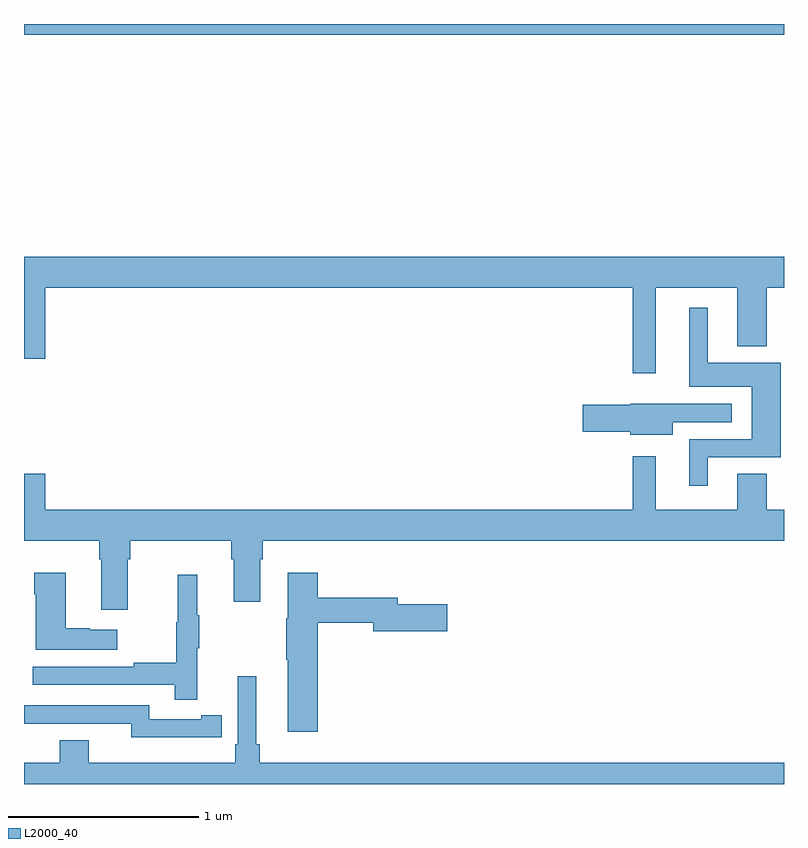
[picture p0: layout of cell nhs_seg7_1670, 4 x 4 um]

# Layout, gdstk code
import gdstk
lib = gdstk.Library(unit=1e-6, precision=1e-09)
def R(c, l, rs):  # rectangles x0, y0, x1, y1
    for r in rs: c.add(gdstk.rectangle(r[:2], r[2:], *l))
def P(c, l, *ps):  # polygons
    for p in ps: c.add(gdstk.Polygon(p, *l))
L2000_40 = (2000, 40)

nhs_seg7_1670 = lib.new_cell('nhs_seg7_1670')
R(nhs_seg7_1670, L2000_40, [(225,1005.944,229,1006)])
P(nhs_seg7_1670, L2000_40, [(228.325,1004.612),(228.755,1004.612),(228.755,1004.303),(228.908,1004.303),(228.908,1004.612),(229,1004.612),(229,1004.776),(225,1004.776),(225,1004.238),(225.112,1004.238),(225.112,1004.612),(228.204,1004.612),(228.204,1004.163),(228.325,1004.163)],
  [(228.598,1003.719),(228.984,1003.719),(228.984,1004.218),(228.598,1004.218),(228.598,1004.506),(228.5,1004.506),(228.5,1004.09),(228.83,1004.09),(228.83,1003.815),(228.5,1003.815),(228.5,1003.569),(228.598,1003.569)],
  [(228.415,1003.905),(228.724,1003.905),(228.724,1004.001),(228.411,1004.001),(228.411,1004.002),(228.192,1004.002),(228.192,1003.997),(227.94,1003.997),(227.94,1003.855),(228.192,1003.855),(228.192,1003.838),(228.415,1003.838)],
  [(225.547,1003.184),(225.56,1003.184),(225.56,1003.28),(226.091,1003.28),(226.091,1003.184),(226.103,1003.184),(226.103,1002.96),(226.243,1002.96),(226.243,1003.184),(226.256,1003.184),(226.256,1003.28),(229,1003.28),(229,1003.444),(228.908,1003.444),(228.908,1003.634),(228.755,1003.634),(228.755,1003.444),(228.325,1003.444),(228.325,1003.726),(228.204,1003.726),(228.204,1003.444),(225.112,1003.444),(225.112,1003.633),(225,1003.633),(225,1003.28),(225.395,1003.28),(225.395,1003.184),(225.407,1003.184),(225.407,1002.918),(225.547,1002.918)],
  [(225.49,1002.811),(225.347,1002.811),(225.347,1002.821),(225.22,1002.821),(225.22,1003.111),(225.055,1003.111),(225.055,1002.998),(225.062,1002.998),(225.062,1002.707),(225.49,1002.707)],
  [(226.547,1002.85),(226.838,1002.85),(226.838,1002.803),(227.227,1002.803),(227.227,1002.945),(226.966,1002.945),(226.966,1002.979),(226.547,1002.979),(226.547,1003.111),(226.388,1003.111),(226.388,1002.873),(226.381,1002.873),(226.381,1002.655),(226.388,1002.655),(226.388,1002.276),(226.547,1002.276)],
  [(225.911,1002.715),(225.922,1002.715),(225.922,1002.889),(225.911,1002.889),(225.911,1003.102),(225.808,1003.102),(225.808,1002.852),(225.801,1002.852),(225.801,1002.638),(225.577,1002.638),(225.577,1002.618),(225.045,1002.618),(225.045,1002.522),(225.793,1002.522),(225.793,1002.444),(225.911,1002.444)],
  [(229,1002.112),(226.241,1002.112),(226.241,1002.208),(226.222,1002.208),(226.222,1002.568),(226.125,1002.568),(226.125,1002.208),(226.112,1002.208),(226.112,1002.112),(225.34,1002.112),(225.34,1002.229),(225.188,1002.229),(225.188,1002.112),(225,1002.112),(225,1002),(229,1002)],
  [(225.932,1002.246),(226.04,1002.246),(226.04,1002.362),(225.932,1002.362),(225.932,1002.342),(225.66,1002.342),(225.66,1002.414),(225,1002.414),(225,1002.317),(225.104,1002.317),(225.104,1002.318),(225.564,1002.318),(225.564,1002.245),(225.932,1002.245)])

lib.write_gds('nhs_seg7_1670.gds')
